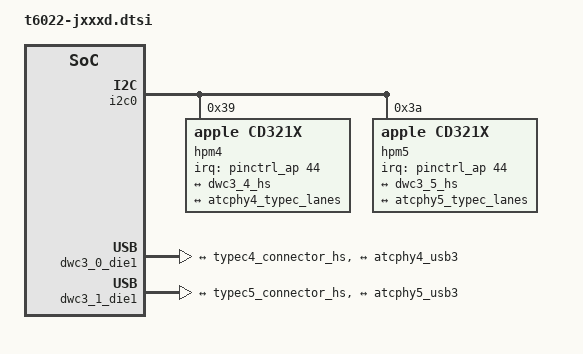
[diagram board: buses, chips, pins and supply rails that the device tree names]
// SPDX-License-Identifier: GPL-2.0+ OR MIT
/*
 * Mac Pro (M2 Ultra, 2023) and Mac Studio (M2 Ultra, 2023)
 *
 * This file contains the parts common to J180 and J475 devices with t6022.
 *
 * target-type: J180d / J475d
 *
 * Copyright The Asahi Linux Contributors
 */

/* delete power-domains for missing disp0 / disp0_die1 */
/delete-node/ &ps_disp0_cpu0;
/delete-node/ &ps_disp0_fe;

/delete-node/ &ps_disp0_cpu0_die1;
/delete-node/ &ps_disp0_fe_die1;

/* USB Type C */
&i2c0 {
	/* front-right */
	hpm4: usb-pd@39 {
		compatible = "apple,cd321x";
		reg = <0x39>;
		interrupt-parent = <&pinctrl_ap>;
		interrupts = <44 IRQ_TYPE_LEVEL_LOW>;
		interrupt-names = "irq";

		typec4: connector {
			compatible = "usb-c-connector";
			power-role = "dual";
			data-role = "dual";

			ports {
				#address-cells = <1>;
				#size-cells = <0>;
				port@0 {
					reg = <0>;
					typec4_connector_hs: endpoint {
						remote-endpoint = <&dwc3_4_hs>;
					};
				};
				port@1 {
					reg = <1>;
					typec4_connector_ss: endpoint {
						remote-endpoint = <&atcphy4_typec_lanes>;
					};
				};
			};
		};
	};

	/* front-left */
	hpm5: usb-pd@3a {
		compatible = "apple,cd321x";
		reg = <0x3a>;
		interrupt-parent = <&pinctrl_ap>;
		interrupts = <44 IRQ_TYPE_LEVEL_LOW>;
		interrupt-names = "irq";

		typec5: connector {
			compatible = "usb-c-connector";
			power-role = "dual";
			data-role = "dual";

			ports {
				#address-cells = <1>;
				#size-cells = <0>;
				port@0 {
					reg = <0>;
					typec5_connector_hs: endpoint {
						remote-endpoint = <&dwc3_5_hs>;
					};
				};
				port@1 {
					reg = <1>;
					typec5_connector_ss: endpoint {
						remote-endpoint = <&atcphy5_typec_lanes>;
					};
				};
			};
		};
	};
};


/* USB controllers on die 1 */
&dwc3_0_die1 {
	ports {
		#address-cells = <1>;
		#size-cells = <0>;

		port@0 {
			reg = <0>;
			dwc3_4_hs: endpoint {
				remote-endpoint = <&typec4_connector_hs>;
			};
		};

		port@1 {
			reg = <1>;
			dwc3_4_ss: endpoint {
				remote-endpoint = <&atcphy4_usb3>;
			};
		};
	};
};

&dwc3_1_die1 {
	ports {
		#address-cells = <1>;
		#size-cells = <0>;

		port@0 {
			reg = <0>;
			dwc3_5_hs: endpoint {
				remote-endpoint = <&typec5_connector_hs>;
			};
		};

		port@1 {
			reg = <1>;
			dwc3_5_ss: endpoint {
				remote-endpoint = <&atcphy5_usb3>;
			};
		};
	};
};

/* Type-C PHYs */
&atcphy0_die1 {
	ports {
		#address-cells = <1>;
		#size-cells = <0>;

		port@0 {
			reg = <0>;
			atcphy4_typec_lanes: endpoint {
				remote-endpoint = <&typec4_connector_ss>;
			};
		};

		port@1 {
			reg = <1>;
			atcphy4_usb3: endpoint {
				remote-endpoint = <&dwc3_4_ss>;
			};
		};
	};
};

&atcphy1_die1 {
	ports {
		#address-cells = <1>;
		#size-cells = <0>;

		port@0 {
			reg = <0>;
			atcphy5_typec_lanes: endpoint {
				remote-endpoint = <&typec5_connector_ss>;
			};
		};

		port@1 {
			reg = <1>;
			atcphy5_usb3: endpoint {
				remote-endpoint = <&dwc3_5_ss>;
			};
		};
	};
};
